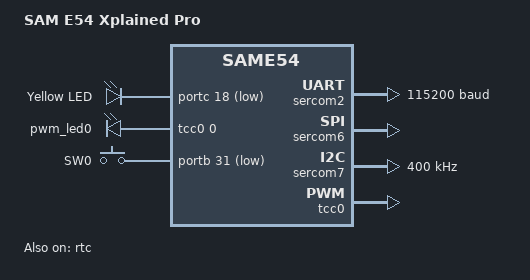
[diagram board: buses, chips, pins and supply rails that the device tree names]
/*
 * Copyright (c) 2025 Microchip Technology Inc.
 *
 * SPDX-License-Identifier: Apache-2.0
 */

/dts-v1/;
#include <microchip/sam/sam_d5x_e5x/atsame54/atsame54p20a.dtsi>
#include "sam_e54_xpro-pinctrl.dtsi"
#include <zephyr/dt-bindings/input/input-event-codes.h>

/ {
	model = "SAM E54 Xplained Pro";
	compatible = "same54,xpro", "microchip,atsame54p20a", "microchip,same54";

	chosen {
		zephyr,console = &sercom2;
		zephyr,shell-uart = &sercom2;
		zephyr,sram = &sram0;
		zephyr,flash = &flash0;
	};

	aliases {
		led0 = &led0;
		pwm-led0 = &pwm_led0;
		sw0 = &button0;
		rtc = &rtc;
	};

	leds {
		compatible = "gpio-leds";
		led0: led_0 {
			gpios = <&portc 18 GPIO_ACTIVE_LOW>;
			label = "Yellow LED";
		};
	};

	pwmleds {
		compatible = "pwm-leds";
		pwm_led0: pwm_led_0 {
			status = "okay";
			pwms = <&tcc0 0 PWM_MSEC(20) 0>;
		};
	};

	buttons {
		compatible = "gpio-keys";
		button0: button_0 {
			gpios = <&portb 31 (GPIO_PULL_UP | GPIO_ACTIVE_LOW)>;
			label = "SW0";
			zephyr,code = <INPUT_KEY_0>;
		};
	};
};

&flash0 {
	partitions {
		compatible = "fixed-partitions";
		#address-cells = <1>;
		#size-cells = <1>;

		/*
		 * The final 16 KiB is reserved for the application.
		 * Storage partition will be used by FCB/LittleFS/NVS
		 * if enabled.
		 */
		storage_partition: partition@fc000 {
			label = "storage";
			reg = <0x000fc000 0x00004000>;
		};
	};
};

&cpu0 {
	clock-frequency = <120000000>;
};

&clock {
	compatible = "microchip,sam-d5x-e5x-clock";

	xosc: xosc {
		compatible = "microchip,sam-d5x-e5x-xosc";
		xosc1 {
			subsystem = <CLOCK_MCHP_XOSC_ID_XOSC1>;
			xosc-frequency = <12000000>;
			xosc-en = <1>;
			xosc-xtal-en = <1>;
			xosc-run-in-standby-en = <1>;
		};
	};

	dfll: dfll {
		compatible = "microchip,sam-d5x-e5x-dfll";
		dfll-en = <0>;
	};

	fdpll: fdpll {
		compatible = "microchip,sam-d5x-e5x-fdpll";
		fdpll0 {
			subsystem = <CLOCK_MCHP_FDPLL_ID_FDPLL0>;
			fdpll-divider-ratio-int = <19>;
			fdpll-lock-bypass-en = <1>;
			fdpll-wakeup-fast-en = <1>;
			fdpll-src = "xosc1";
			fdpll-en = <1>;
		};
	};

	xosc32k: xosc32k {
		compatible = "microchip,sam-d5x-e5x-xosc32k";
		xosc32k-xtal-en = <1>;
		xosc32k-startup-time = <62>;
		xosc32k-gain-mode = "standard";
		xosc32k-en = <1>;
		xosc32k-32khz-en = <1>;
		xosc32k-1khz-en = <1>;
	};

	gclkgen: gclkgen {
		compatible = "microchip,sam-d5x-e5x-gclkgen";

		gclkgen0 {
			subsystem = <CLOCK_MCHP_GCLKGEN_ID_GEN0>;
			gclkgen-div-factor = <1>;
			gclkgen-run-in-standby-en = <1>;
			gclkgen-src = "fdpll0";
			gclkgen-en = <1>;
		};
	};

	gclkperiph: gclkperiph {
		compatible = "microchip,sam-d5x-e5x-gclkperiph";
		#clock-cells = <1>;

		sercom2 {
			subsystem = <CLOCK_MCHP_GCLKPERIPH_ID_SERCOM2_CORE>;
			gclkperiph-src = "gclk0";
			gclkperiph-en = <1>;
		};

		sercom1 {
			subsystem = <CLOCK_MCHP_GCLKPERIPH_ID_SERCOM1_CORE>;
			gclkperiph-src = "gclk0";
			gclkperiph-en = <1>;
		};
	};

	mclkperiph: mclkperiph {
		compatible = "microchip,sam-d5x-e5x-mclkperiph";
		#clock-cells = <1>;

		sercom2 {
			subsystem = <CLOCK_MCHP_MCLKPERIPH_ID_APBB_SERCOM2>;
			mclk-en = <1>;
		};

		sercom1 {
			subsystem = <CLOCK_MCHP_MCLKPERIPH_ID_APBA_SERCOM1>;
			mclk-en = <1>;
		};

		dmac {
			subsystem = <CLOCK_MCHP_MCLKPERIPH_ID_AHB_DMAC>;
			mclk-en = <1>;
		};
	};
};

&rtc {
	compatible = "microchip,rtc-g1";
	status = "okay";
	prescaler = <1024>;
	alarms-count = <2>;
	cal-constant = <1048576>;  /*(8192 * 128 = 1048576)*/
};

&sercom2 {
	status = "okay";
	compatible = "microchip,sercom-g1-uart";
	#address-cells = <1>;
	#size-cells = <0>;

	current-speed = <115200>;
	data-bits = <8>;
	parity = "none";
	stop-bits = "1";

	rxpo = <1>;
	txpo = <0>;

	pinctrl-0 = <&sercom2_uart_default>;
	pinctrl-names = "default";

	dmas = <&dmac 1 8>, <&dmac 2 9>;
	dma-names = "rx", "tx";
};

&sercom6 {
	status = "okay";
	compatible = "microchip,sercom-g1-spi";

	dipo = <3>;
	dopo = <0>;

	#address-cells = <1>;
	#size-cells = <0>;

	pinctrl-0 = <&sercom6_spi_default>;
	pinctrl-names = "default";
};

&sercom7 {
	status = "okay";
	compatible = "microchip,sercom-g1-i2c";
	#address-cells = <1>;
	#size-cells = <0>;

	clock-frequency = <I2C_BITRATE_FAST>;

	pinctrl-0 = <&sercom7_i2c_default>;
	pinctrl-names = "default";

	dmas = <&dmac 10 0x12>, <&dmac 11 0x13>;
	dma-names = "rx", "tx";
};

&tc0 {
	status = "disabled";
	compatible = "microchip,tc-g1-pwm";
	#pwm-cells = <3>;
	pinctrl-0 = <&tc0_pwm_default>;
	pinctrl-names = "default";
	max-bit-width = <32>;
	prescaler = <1>;
	channels = <2>;
};

&tcc0 {
	status = "okay";
	compatible = "microchip,tcc-g1-pwm";
	#pwm-cells = <3>;
	pinctrl-0 = <&tcc0_pwm_default>;
	pinctrl-names = "default";
	max-bit-width = <24>;
	prescaler = <8>;
	channels = <6>;
};
